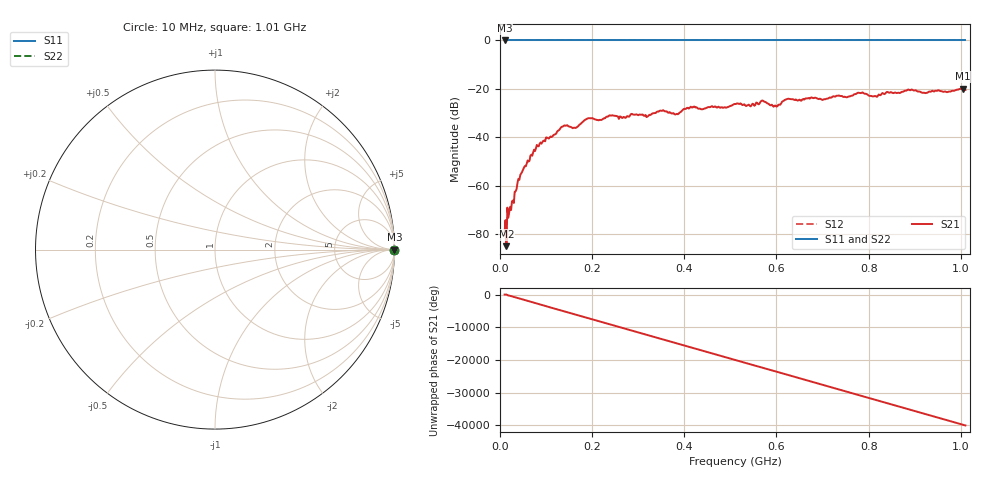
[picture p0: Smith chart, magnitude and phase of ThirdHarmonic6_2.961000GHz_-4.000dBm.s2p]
! 8/17/2025 8:21:14 AM
! C:\ANRITSUVNA\TEMP\TEMP.S2P
! CHANNEL.1
! TR.MEASUREMENT
! RAW.DATA
! RF.CORRECTION.OFF
! AVERAGING.OFF
! IF.BANDWIDTH: 5KHZ
! SWEEPTYPE:  FREQ.SWEEP(Linear)
! Reference Plane Port Info
! PORT:  PORT1  PORT2
! DISTANCE:  0  m  0  m
! TIME:  0  s  0  s
! PHASE.OFFSET:  0  deg.  0  deg.
! LOSS:  0  dB  0  dB
! REF.LOSS:  0  dB  0  dB
! REF.FREQ:  0  Hz  0  Hz
! Power Info
! POWER:  -20  dBm  -20  dBm
! EFF.POWER:  -20  dBm  -20  dBm
! SOURCE.ATTEN:  0  dB  0  dB
! TEST.ATTEN:  0  dB  0  dB
# GHZ S RI R 50.0
! FREQ.GHZ  S11RE  S11IM  S21RE  S21IM  S12RE  S12IM  S22RE  S22IM
!; PortSelection: Port_12
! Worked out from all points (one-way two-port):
!   501 points, 10 MHz to 1.01 GHz, reference 50 ohm
!   highest |S21| = -19.84 dB at 1.004 GHz (marker M1); lowest = -85.0 dB at 14 MHz (marker M2)
!   lowest |S11| = 0.0 dB at 10 MHz (marker M3)
!   |S11| at or under -10 dB: nowhere
!   |S22| runs from 0.0 to 0.0 dB; largest |S21 - S12| = 1.1
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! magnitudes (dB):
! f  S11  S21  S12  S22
! 10 MHz  0.0  -79.1  0.0  0.0
! 14 MHz  0.0  -85.0  0.0  0.0
! 42 MHz  0.0  -57.5  0.0  0.0
! 78 MHz  0.0  -44.5  0.0  0.0
! 136 MHz  0.0  -35.6  0.0  0.0
! 162 MHz  0.0  -36.0  0.0  0.0
! 178 MHz  0.0  -33.8  0.0  0.0
! 192 MHz  0.0  -32.1  0.0  0.0
! 318 MHz  0.0  -31.6  0.0  0.0
! 344 MHz  0.0  -29.4  0.0  0.0
! 384 MHz  0.0  -30.3  0.0  0.0
! 418 MHz  0.0  -27.7  0.0  0.0
! 510 MHz  0.0  -26.2  0.0  0.0
! 570 MHz  0.0  -24.8  0.0  0.0
! 598 MHz  0.0  -26.9  0.0  0.0
! 622 MHz  0.0  -24.2  0.0  0.0
! 678 MHz  0.0  -23.7  0.0  0.0
! 782 MHz  0.0  -21.7  0.0  0.0
! 814 MHz  0.0  -22.9  0.0  0.0
! 844 MHz  0.0  -21.6  0.0  0.0
! 1.004 GHz  0.0  -19.8  0.0  0.0
! 1.01 GHz  0.0  -20.4  0.0  0.0
